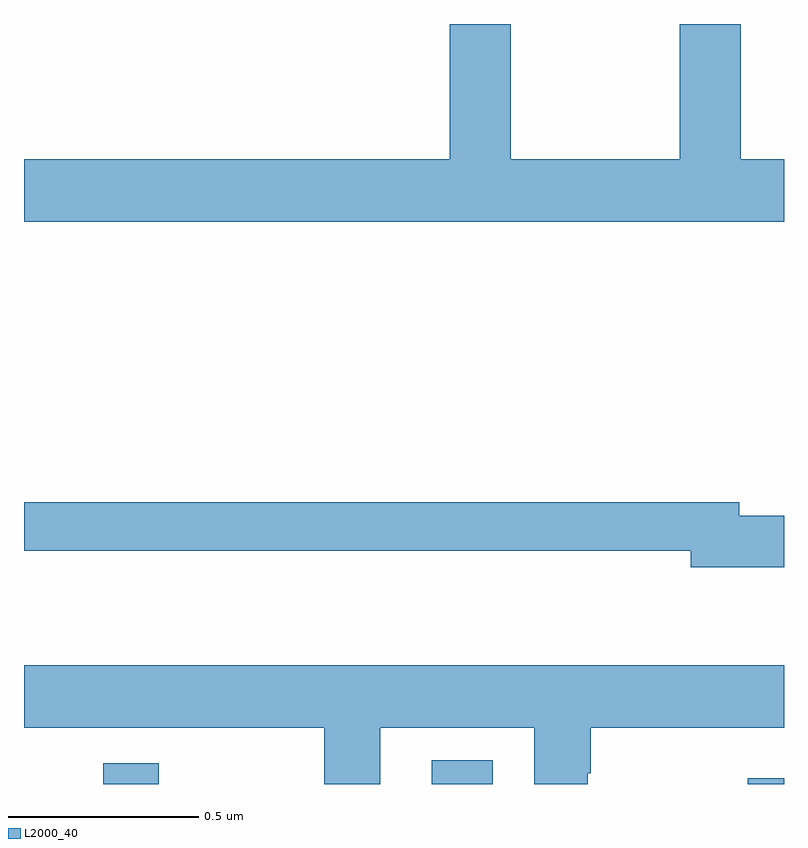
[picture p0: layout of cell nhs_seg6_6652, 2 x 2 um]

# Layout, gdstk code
import gdstk
lib = gdstk.Library(unit=1e-6, precision=1e-09)
def R(c, l, rs):  # rectangles x0, y0, x1, y1
    for r in rs: c.add(gdstk.rectangle(r[:2], r[2:], *l))
def P(c, l, *ps):  # polygons
    for p in ps: c.add(gdstk.Polygon(p, *l))
L2000_40 = (2000, 40)

nhs_seg6_6652 = lib.new_cell('nhs_seg6_6652')
R(nhs_seg6_6652, L2000_40, [(198.209,968.5,198.354,968.554), (199.073,968.5,199.234,968.563), (199.904,968.5,200,968.515)])
P(nhs_seg6_6652, L2000_40, [(200,970.144),(199.886,970.144),(199.886,970.5),(199.726,970.5),(199.726,970.144),(199.281,970.144),(199.281,970.5),(199.121,970.5),(199.121,970.144),(198,970.144),(198,969.98),(200,969.98)],
  [(200,969.206),(199.882,969.206),(199.882,969.242),(198,969.242),(198,969.114),(199.754,969.114),(199.754,969.071),(200,969.071)],
  [(198.937,968.648),(199.343,968.648),(199.343,968.5),(199.483,968.5),(199.483,968.528),(199.491,968.528),(199.491,968.648),(200,968.648),(200,968.812),(198,968.812),(198,968.648),(198.79,968.648),(198.79,968.5),(198.937,968.5)])

lib.write_gds('nhs_seg6_6652.gds')
